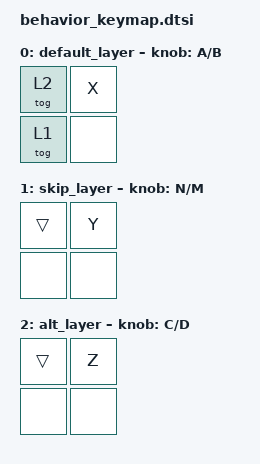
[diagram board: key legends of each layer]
#include <dt-bindings/zmk/keys.h>
#include <behaviors.dtsi>
#include <dt-bindings/zmk/kscan_mock.h>

/ {
    keymap {
        compatible = "zmk,keymap";

        default_layer {
            bindings = <
                &tog 2 &kp X
                &tog 1 &none
            >;
            sensor-bindings = <&inc_dec_kp A B>;
        };
        skip_layer {
            bindings = <
                &trans &kp Y
                &none &none
            >;
            sensor-bindings = <&inc_dec_kp N M>;
        };
        alt_layer {
            bindings = <
                &trans &kp Z
                &none &none
            >;
            sensor-bindings = <&inc_dec_kp C D>;
        };
    };

    mock_encoder: mock_encoder {
        compatible = "zmk,sensor-encoder-mock";
        status = "okay";
        event-startup-delay = <200>;
        event-period = <200>;
    };

    sensors: sensors {
        compatible = "zmk,keymap-sensors";
        sensors = <&mock_encoder>;
        triggers-per-rotation = <20>;
    };
};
